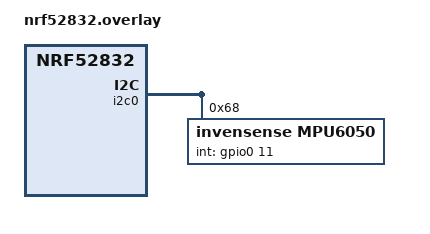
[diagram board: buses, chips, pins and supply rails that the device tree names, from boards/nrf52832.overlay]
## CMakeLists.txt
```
# CMake configuration for the nRF52-DK Demo Project using Zephyr

cmake_minimum_required(VERSION 3.20.0)

# Define board
set(BOARD nrf52dk/nrf52832)

# Set devicetree overlays
set(DTC_OVERLAY_FILE boards/nrf52832.overlay)

# Pull Zephyr build system
find_package(Zephyr REQUIRED HINTS $ENV{ZEPHYR_BASE})

# Define project
project(zephyr_nrf52_demo)

# Verify the project is built through sysbuild to ensure MCUboot is
# automatically included
test_sysbuild()

# Add sources
file(
  GLOB
  SOURCES_APP
  src/demo_task1.c
  src/demo_task2.c
  src/sensor_task.c
  src/serialization.c
  src/mpu_driver/*.c)

# BLE task sources
if(CONFIG_BLE_SENSOR_DATA)
  list(APPEND SOURCES_APP ${CMAKE_CURRENT_LIST_DIR}/src/ble_task.c)
endif()

# UART task sources
if(CONFIG_UART_SENSOR_DATA)
  list(APPEND SOURCES_APP ${CMAKE_CURRENT_LIST_DIR}/src/uart_task.c)
endif()

target_sources(app PRIVATE src/main.c ${SOURCES_APP})

# Build the llext
set(ext_name user_app)
file(GLOB ext_src ${CMAKE_CURRENT_LIST_DIR}/src/app/*.c)
set(ext_bin ${PROJECT_BINARY_DIR}/llext/${ext_name}.llext)
set(ext_inc ${ZEPHYR_BINARY_DIR}/include/generated/${ext_name}_ext.inc)
add_llext_target(${ext_name}_ext OUTPUT ${ext_bin} SOURCES ${ext_src})
generate_inc_file_for_target(app ${ext_bin} ${ext_inc})

# Include headers
target_include_directories(app PRIVATE src/mpu_driver)
```

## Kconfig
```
mainmenu "Zephyr demo:"

menuconfig SENSOR_DATA_OUTPUT
  bool "Sensor data output"
  default n
  help
    Enable/disable the demo sensor to outputs its data.

config BLE_SENSOR_DATA
  bool "Send sensor data over BLE"
  default n
  depends on SENSOR_DATA_OUTPUT

if BLE_SENSOR_DATA
  config BT
    bool "Enable Bluetooth stack"
    default y
    help
      Enable the Bluetooth stack for the project
  
  config BT_SETTINGS
    bool "Enable Bluetooth settings storage"
    default n
    help
      Store Bluetooth state and configuration persistently
  
  config BT_PERIPHERAL
    bool
    default y
  
  config BT_DEVICE_NAME
    string "BLE device name"
    default "Zephyr demo"
  
  config BT_DEVICE_NAME_DYNAMIC
    bool
    default y
  
  config BT_DEVICE_APPEARANCE_DYNAMIC
    bool
    default y
endif

config UART_SENSOR_DATA
  bool "Send sensor data over UART"
  default y
  depends on SENSOR_DATA_OUTPUT

source "Kconfig.zephyr"
```

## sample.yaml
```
sample:
  name: Zephyr demo
  description: Small Zephyr application that test Zephyr's features
  platforms: nrf52832
common:
  sysbuild: true
```

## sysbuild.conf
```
# Sysbuild configuration file

# Enable MCUboot
SB_CONFIG_BOOTLOADER_MCUBOOT=y
SB_CONFIG_BOOT_SIGNATURE_KEY_FILE="/home/tbardy/Workspaces/zephyr-labs/nrf52-demo/mcuboot-keys/mcuboot_nrf52.pem"
```

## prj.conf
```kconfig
# Enable assertions
CONFIG_ASSERT=y
CONFIG_ASSERT_LEVEL=2

# Enable I2C
CONFIG_I2C=y

# Enable sensor features for mpu-6050
CONFIG_SENSOR=y
CONFIG_MPU6050_TRIGGER_NONE=y

# Enable Logging
CONFIG_LOG=y
CONFIG_LOG_DEFAULT_LEVEL=3
CONFIG_CBPRINTF_FP_SUPPORT=y

# Enable Zbus
CONFIG_ZBUS=y
CONFIG_ZBUS_CHANNEL_NAME=y
CONFIG_ZBUS_RUNTIME_OBSERVERS=y

# Enable LLEXT
CONFIG_LLEXT=y
CONFIG_LLEXT_LOG_LEVEL_DBG=y
CONFIG_LLEXT_HEAP_SIZE=16
CONFIG_LLEXT_TYPE_ELF_RELOCATABLE=y
CONFIG_LLEXT_STORAGE_WRITABLE=y
CONFIG_ARM_MPU=n

CONFIG_MAIN_STACK_SIZE=2048
```

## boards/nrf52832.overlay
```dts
&i2c0 {
        status = "okay";

        mpu6050: mpu6050@68 {
                compatible = "invensense,mpu6050";
                reg = <0x68>;
                status = "okay";
                label = "mpu6050";
                int-gpios = <&gpio0 11 GPIO_ACTIVE_HIGH>;
        };
};
```

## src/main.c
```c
/**
 * @file main.c
 * @brief Zephyr Demo Application for the nRF52 DK Board
 */

#include <stdint.h>
#include <zephyr/drivers/gpio.h>
#include <zephyr/kernel.h>
#include <zephyr/llext/buf_loader.h>
#include <zephyr/llext/llext.h>
#include <zephyr/logging/log.h>

#include "ble_task.h"
#include "board_def.h"
#include "demo_task1.h"
#include "demo_task2.h"
#include "sensor_task.h"
#include "uart_task.h"

LOG_MODULE_REGISTER(main);

static uint8_t llext_buf[] = {
#include "user_app_ext.inc"
};

bool prvInitBoard(void) {
  uint8_t ret;

  if (!gpio_is_ready_dt(&led0) || !gpio_is_ready_dt(&led1) ||
      !gpio_is_ready_dt(&led2) || !gpio_is_ready_dt(&led3) ||
      !gpio_is_ready_dt(&btn0) || !gpio_is_ready_dt(&btn1) ||
      !gpio_is_ready_dt(&btn2) || !gpio_is_ready_dt(&btn3)) {
    return false;
  }
  ret = gpio_pin_configure_dt(&led0, GPIO_OUTPUT_INACTIVE);
  if (ret < 0) {
    return false;
  }
  ret = gpio_pin_configure_dt(&led1, GPIO_OUTPUT_INACTIVE);
  if (ret < 0) {
    return false;
  }
  ret = gpio_pin_configure_dt(&led2, GPIO_OUTPUT_INACTIVE);
  if (ret < 0) {
    return false;
  }
  ret = gpio_pin_configure_dt(&led3, GPIO_OUTPUT_INACTIVE);
  if (ret < 0) {
    return false;
  }
  ret = gpio_pin_configure_dt(&btn0, GPIO_INPUT | GPIO_PULL_UP);
  if (ret < 0) {
    return false;
  }
  ret = gpio_pin_configure_dt(&btn1, GPIO_INPUT | GPIO_PULL_UP);
  if (ret < 0) {
    return false;
  }
  ret = gpio_pin_configure_dt(&btn2, GPIO_INPUT | GPIO_PULL_UP);
  if (ret < 0) {
    return false;
  }
  ret = gpio_pin_configure_dt(&btn3, GPIO_INPUT | GPIO_PULL_UP);
  if (ret < 0) {
    return false;
  }

  return true;
}

int main(void) {
  // Initialize hardware
  if (!prvInitBoard()) {
    LOG_ERR("Failed to initialize board");
    return 0;
  }

  // Start tasks
  if (!task1_init()) {
    LOG_ERR("Failed to init task 1");
  }
  if (!task2_init()) {
    LOG_ERR("Failed to init task 2");
  }
  if (!task_sensor_init()) {
    LOG_ERR("Failed to init sensor task");
  }
#ifdef CONFIG_BLE_SENSOR_DATA
  if (!task_ble_init()) {
    LOG_ERR("Failed to init BLE task");
  }
#endif
#ifdef CONFIG_UART_SENSOR_DATA
  if (!task_uart_init()) {
    LOG_ERR("Failed to init UART task");
  }
#endif

  LOG_INF("--- OS is starting ---");
  k_msleep(1000);

  size_t llext_buf_len = ARRAY_SIZE(llext_buf);
  struct llext_buf_loader buf_loader =
      LLEXT_PERSISTENT_BUF_LOADER(llext_buf, llext_buf_len);
  struct llext_loader *ldr = &buf_loader.loader;

  struct llext_load_param ldr_parm = LLEXT_LOAD_PARAM_DEFAULT;
  struct llext *ext;

  if (0 != llext_load(ldr, "User app", &ext, &ldr_parm)) {
    LOG_ERR("Failed to load extension");
    return -1;
  }

  void (*user_app_fn)() = llext_find_sym(&ext->exp_tab, "UserAppEntryPoint");

  if (user_app_fn == NULL) {
    LOG_ERR("Failed to find symbol");
    return -1;
  }

  LOG_INF("--- User application is starting ---");
  user_app_fn();

  while (1) {
    k_sleep(K_FOREVER);
  }

  llext_unload(&ext);
  return 0;
}
```

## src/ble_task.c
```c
#include <stddef.h>
#include <stdint.h>
#include <string.h>
#include <sys/types.h>
#include <zephyr/bluetooth/bluetooth.h>
#include <zephyr/bluetooth/conn.h>
#include <zephyr/bluetooth/gap.h>
#include <zephyr/bluetooth/gatt.h>
#include <zephyr/bluetooth/hci.h>
#include <zephyr/bluetooth/uuid.h>
#include <zephyr/kernel.h>
#include <zephyr/logging/log.h>
#include <zephyr/sys/util.h>
#include <zephyr/zbus/zbus.h>

#include "ble_task.h"
#include "mpu6050.h"
#include "serialization.h"

LOG_MODULE_REGISTER(ble);

ZBUS_CHAN_DECLARE(sensor_data);

// BLE task configuration
#define TASK_BLE_STACK_SIZE (1024)
#define TASK_BLE_PRIORITITY (2)
static void pvrTaskBle(void *sub);
ZBUS_SUBSCRIBER_DEFINE(ble_com_sub, 1);
ZBUS_CHAN_ADD_OBS(sensor_data, ble_com_sub, 1);
K_THREAD_DEFINE(task_ble_id, TASK_BLE_STACK_SIZE, pvrTaskBle, &ble_com_sub,
                NULL, NULL, TASK_BLE_PRIORITITY, K_ESSENTIAL, 0);

typedef enum { BLE_IDLE, BLE_ADV, BLE_CONNECT, BLE_CONNECTED } BleTaskState;
static BleTaskState current_state = BLE_IDLE;

// Synchronization variables
K_SEM_DEFINE(sem_task_ble_start, 0, 1);

// BLE device name
#ifdef CONFIG_BT_DEVICE_NAME
#define DEVICE_NAME CONFIG_BT_DEVICE_NAME
#else
#define DEVICE_NAME "Zephyr demo"
#endif
#define DEVICE_NAME_LEN (sizeof(DEVICE_NAME) - 1)

static struct bt_conn *phone_conn = NULL;
volatile bool temp_notify_enable = false;
volatile bool acce_notify_enable = false;
volatile bool gyro_notify_enable = false;

static void temp_ccc_cfg_changed(const struct bt_gatt_attr *attr,
                                 uint16_t value) {
  ARG_UNUSED(attr);
  temp_notify_enable = (value == BT_GATT_CCC_NOTIFY);
  LOG_INF("Temp notification %s", temp_notify_enable ? "enabled" : "disabled");
}

static void acce_ccc_cfg_changed(const struct bt_gatt_attr *attr,
                                 uint16_t value) {
  ARG_UNUSED(attr);
  acce_notify_enable = (value == BT_GATT_CCC_NOTIFY);
  LOG_INF("Acce notification %s", acce_notify_enable ? "enabled" : "disabled");
}

static void gyro_ccc_cfg_changed(const struct bt_gatt_attr *attr,
                                 uint16_t value) {
  ARG_UNUSED(attr);
  gyro_notify_enable = (value == BT_GATT_CCC_NOTIFY);
  LOG_INF("Gyro notification %s", gyro_notify_enable ? "enabled" : "disabled");
}

// MPU (accelero - gyro) BLE service UUID:
// 0x2F4A3B1E-0584-4865-9BF5-A7A99C9A0000
#define BT_UUID_MPU_SERVICE_VAL                                                \
  BT_UUID_128_ENCODE(0x2F4A3B1E, 0x0584, 0x4865, 0x9BF5, 0xA7A99C9A0000)

static const struct bt_uuid_128 mpu_uuid =
    BT_UUID_INIT_128(BT_UUID_MPU_SERVICE_VAL);
// Define custom characteristic UUIDs (accelero and gyro)
static const struct bt_uuid_128 accel_uuid = BT_UUID_INIT_128(
    BT_UUID_128_ENCODE(0x2F4A3B1E, 0x0584, 0x4865, 0x9BF5, 0xA7A99C9A0001));
static const struct bt_uuid_128 gyro_uuid = BT_UUID_INIT_128(
    BT_UUID_128_ENCODE(0x2F4A3B1E, 0x0584, 0x4865, 0x9BF5, 0xA7A99C9A0002));

static struct mpu6050_data mpu_srv_data = {0};

BT_GATT_SERVICE_DEFINE(
    ess_service, BT_GATT_PRIMARY_SERVICE(BT_UUID_ESS),
    BT_GATT_CHARACTERISTIC(BT_UUID_ES_MEASUREMENT, BT_GATT_CHRC_NOTIFY,
                           BT_GATT_PERM_NONE, NULL, NULL, &mpu_srv_data.temp),
    BT_GATT_CCC(temp_ccc_cfg_changed, BT_GATT_PERM_READ | BT_GATT_PERM_WRITE));

BT_GATT_SERVICE_DEFINE(
    mpu_service, BT_GATT_PRIMARY_SERVICE(&mpu_uuid),
    BT_GATT_CHARACTERISTIC(&accel_uuid.uuid, BT_GATT_CHRC_NOTIFY,
                           BT_GATT_PERM_NONE, NULL, NULL, &mpu_srv_data.acce),
    BT_GATT_CCC(acce_ccc_cfg_changed, BT_GATT_PERM_READ | BT_GATT_PERM_WRITE),
    BT_GATT_CHARACTERISTIC(&gyro_uuid.uuid, BT_GATT_CHRC_NOTIFY,
                           BT_GATT_PERM_NONE, NULL, NULL, &mpu_srv_data.gyro),
    BT_GATT_CCC(gyro_ccc_cfg_changed, BT_GATT_PERM_READ | BT_GATT_PERM_WRITE));

// Advertisment data
static const struct bt_data adv_data[] = {
    BT_DATA_BYTES(BT_DATA_FLAGS, (BT_LE_AD_GENERAL | BT_LE_AD_NO_BREDR)),
    BT_DATA(BT_DATA_NAME_COMPLETE, DEVICE_NAME, DEVICE_NAME_LEN),
};

void prvMtuUpdated(struct bt_conn *conn, uint16_t tx, uint16_t rx) {
  LOG_INF("Updated MTU: Tx: %d - Rx: %d bytes", tx, rx);
}

static struct bt_gatt_cb gatt_callbacks = {
    .att_mtu_updated = prvMtuUpdated,
};

static void prvConnectedCb(struct bt_conn *conn, uint8_t err) {
  if (err) {
    LOG_ERR("Connection failed: %d", err);
  } else {
    LOG_INF("Connected");
    current_state = BLE_CONNECT;
    if (!phone_conn) {
      phone_conn = bt_conn_ref(conn);
    }
  }
}

static void prvDisconnectedCb(struct bt_conn *conn, uint8_t reason) {
  if (phone_conn) {
    bt_conn_unref(conn);
    phone_conn = NULL;
  }
  LOG_INF("Disconnected: reason 0x%02x %s", reason, bt_hci_err_to_str(reason));
  current_state = BLE_ADV;
}

BT_CONN_CB_DEFINE(conn_callbacks) = {
    .connected = prvConnectedCb,
    .disconnected = prvDisconnectedCb,
};

void prvBtReady(int err) {
  if (err) {
    LOG_ERR("Bluetooth stack init failed: %d", err);
    return;
  }

  LOG_INF("Bluetooth initialized");
}

bool task_ble_init(void) {
  // Initialize BLE stack
  int ret = bt_enable(&prvBtReady);
  if (ret != 0) {
    LOG_ERR("Unable to initialize the BLE stack: %d", ret);
    return false;
  }

  // Set BLE name - appearance (sensor) and callbacks
  bt_set_name(DEVICE_NAME);
  bt_set_appearance(0x015);
  bt_gatt_cb_register(&gatt_callbacks);

  k_sem_give(&sem_task_ble_start);
  current_state = BLE_ADV;
  return true;
}

int prvNotifyData(const struct bt_gatt_attr *attr, void *data, uint16_t len) {
  int ret;
  uint16_t mtu_size = bt_gatt_get_mtu(phone_conn) - 3u;
  uint16_t index = 0;

  do {
    ret = bt_gatt_notify(phone_conn, attr, (char *)data + index,
                         (mtu_size > (len - index)) ? (len - index) : mtu_size);
    if (ret != 0) {
      LOG_ERR("BLE notification failed: %d", ret);
      return ret;
    }
    index += mtu_size;
  } while (index < len);

  return ret;
}

static void pvrTaskBle(void *sub) {
  const struct zbus_channel *channel;
  const struct zbus_observer *data_sub = sub;
  int ret;

  k_sem_take(&sem_task_ble_start, K_FOREVER);

  LOG_INF("BLE task start...");

  // BLE state machine
  while (true) {
    switch (current_state) {
    case BLE_IDLE:
      // Nothing to do
      k_sleep(K_SECONDS(1));
      break;

    case BLE_ADV:
      ret = bt_le_adv_start(BT_LE_ADV_CONN_FAST_1, adv_data,
                            ARRAY_SIZE(adv_data), NULL, 0);
      if (ret != 0) {
        LOG_ERR("Advertising failed to start: %d", ret);
      }
      current_state = BLE_IDLE;
      break;

    case BLE_CONNECT:
      ret = bt_le_adv_stop();
      if (ret != 0) {
        LOG_ERR("Advertising failed to stop: %d", ret);
        current_state = BLE_IDLE;
      }
      current_state = BLE_CONNECTED;
      break;

    case BLE_CONNECTED:
      // Wait for data from the sensor task - catch new event every 500ms
      while (!zbus_sub_wait(data_sub, &channel, K_MSEC(500))) {
        if (&sensor_data != channel) {
          LOG_ERR("Wrong channel triggered: %s (expected: %s)", channel->name,
                  sensor_data.name);
          continue;
        }
        ret = zbus_chan_read(channel, &mpu_srv_data, K_NO_WAIT);
        if (ret != 0) {
          LOG_ERR("Unable to read data over channel %s", channel->name);
          continue;
        }

        if (temp_notify_enable) {
          uint8_t data[sizeof(mpu_srv_data.temp)];
          size_t index = 0;
          ser_encoder_data(data, &index, &mpu_srv_data.temp,
                           sizeof(mpu_srv_data.temp));
          memcpy(data, &mpu_srv_data.temp, sizeof(mpu_srv_data.temp));
          ret = prvNotifyData(&ess_service.attrs[2], data,
                              sizeof(mpu_srv_data.temp));
        } else {
          LOG_WRN("Temp notification not enabled");
        }
        if (acce_notify_enable) {
          uint8_t data[sizeof(mpu_srv_data.acce)];
          size_t index = 0;
          ser_encoder_data(data, &index, mpu_srv_data.acce,
                           sizeof(mpu_srv_data.acce));
          ret = prvNotifyData(&mpu_service.attrs[2], data,
                              sizeof(mpu_srv_data.acce));
        } else {
          LOG_WRN("Acce notification not enabled");
        }
        if (gyro_notify_enable) {
          uint8_t data[sizeof(mpu_srv_data.gyro)];
          size_t index = 0;
          ser_encoder_data(data, &index, mpu_srv_data.gyro,
                           sizeof(mpu_srv_data.gyro));
          ret = prvNotifyData(&mpu_service.attrs[4], &mpu_srv_data.gyro,
                              sizeof(mpu_srv_data.gyro));
        } else {
          LOG_WRN("Gyro notification not enabled");
        }
      }
      break;
    }
  }
}
```

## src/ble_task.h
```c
/**
 * @file ble_task.h
 * @brief Task that manages BLE
 */

#ifndef _BLE_TASK_H_
#define _BLE_TASK_H_

#include <stdbool.h>

bool task_ble_init(void);

#endif // _BLE_TASK_H_
```

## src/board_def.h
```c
/**
 * @file board_def.h
 * @brief Definition of the hardware used in the demo
 */

#ifndef _BOARD_DEF_H_
#define _BOARD_DEF_H_

#include <stdint.h>
#include <zephyr/drivers/gpio.h>
#include <zephyr/kernel.h>
#include <zephyr/zbus/zbus.h>

// Hardware used in the demo
static const struct gpio_dt_spec led0 =
    GPIO_DT_SPEC_GET(DT_NODELABEL(led0), gpios);
static const struct gpio_dt_spec led1 =
    GPIO_DT_SPEC_GET(DT_NODELABEL(led1), gpios);
static const struct gpio_dt_spec led2 =
    GPIO_DT_SPEC_GET(DT_NODELABEL(led2), gpios);
static const struct gpio_dt_spec led3 =
    GPIO_DT_SPEC_GET(DT_NODELABEL(led3), gpios);
static const struct gpio_dt_spec btn0 =
    GPIO_DT_SPEC_GET(DT_NODELABEL(button0), gpios);
static const struct gpio_dt_spec btn1 =
    GPIO_DT_SPEC_GET(DT_NODELABEL(button1), gpios);
static const struct gpio_dt_spec btn2 =
    GPIO_DT_SPEC_GET(DT_NODELABEL(button2), gpios);
static const struct gpio_dt_spec btn3 =
    GPIO_DT_SPEC_GET(DT_NODELABEL(button3), gpios);

enum TiggerSource {
  BUTTON_0 = 0,
  BUTTON_1,
  BUTTON_2,
  BUTTON_3,
};

#endif // _BOARD_DEF_H_
```

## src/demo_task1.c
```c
#include <stdbool.h>
#include <stddef.h>
#include <stdint.h>
#include <sys/types.h>
#include <zephyr/kernel.h>
#include <zephyr/logging/log.h>

#include "board_def.h"
#include "zephyr/drivers/gpio.h"

LOG_MODULE_REGISTER(taks1);

// Task configration
#define TASK1_STACK_SIZE (256)
#define TASK1_PRIORITY (3)
static void prvTask1(void *, void *, void *);
K_THREAD_DEFINE(task1_id, TASK1_STACK_SIZE, prvTask1, NULL, NULL, NULL,
                TASK1_PRIORITY, K_ESSENTIAL, 0);

// Synchronization variables
K_SEM_DEFINE(sem_task1_start, 0, 1);

// Internal variables
static uint64_t amount_of_work = 30000;

// Interrupt structures and callbacks
static struct gpio_callback btn0_cb_data;
static struct gpio_callback btn1_cb_data;

void prvBtn0Pressed(const struct device *port, struct gpio_callback *cb,
                    gpio_port_pins_t pins) {
  if (amount_of_work < 100000u) {
    amount_of_work += 5000;
    LOG_INF("Increase amount of work %lld", amount_of_work);
  }
}

void prvBtn1Pressed(const struct device *port, struct gpio_callback *cb,
                    gpio_port_pins_t pins) {
  if (amount_of_work > 10000u) {
    amount_of_work -= 5000;
    LOG_INF("Decrease amount of work %lld", amount_of_work);
  }
}

// Internal functions
static void prvSimulateWork(void) {
  for (size_t i = 0; i < amount_of_work; i++)
    ;
}

static void prvTask1(void *a, void *b, void *c) {
  ARG_UNUSED(a);
  ARG_UNUSED(b);
  ARG_UNUSED(c);

  k_sem_take(&sem_task1_start, K_FOREVER);
  while (true) {
    LOG_INF("Task 1 is running...");

    gpio_pin_toggle_dt(&led0);
    prvSimulateWork();
    gpio_pin_toggle_dt(&led0);

    k_sleep(K_SECONDS(5));
  }
}

bool task1_init(void) {
  // Initialize buttons callbacks
  gpio_init_callback(&btn0_cb_data, prvBtn0Pressed, BIT(btn0.pin));
  gpio_init_callback(&btn1_cb_data, prvBtn1Pressed, BIT(btn1.pin));

  gpio_add_callback_dt(&btn0, &btn0_cb_data);
  gpio_add_callback_dt(&btn1, &btn1_cb_data);

  gpio_pin_interrupt_configure_dt(&btn0, GPIO_INT_EDGE_FALLING);
  gpio_pin_interrupt_configure_dt(&btn1, GPIO_INT_EDGE_FALLING);

  k_sem_give(&sem_task1_start);
  return true;
}
```

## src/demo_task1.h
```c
/**
 * @file demo_taks1.h
 * @brief Simulation of real task in a real project to try out Zephyr features
 */

#ifndef _DEMO_TASK1_H_
#define _DEMO_TASK1_H_

#include <stdbool.h>

bool task1_init(void);

#endif // _DEMO_TASK1_H_
```

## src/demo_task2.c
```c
#include <stdbool.h>
#include <stddef.h>
#include <stdint.h>
#include <sys/types.h>
#include <zephyr/kernel.h>
#include <zephyr/logging/log.h>

#include "board_def.h"
#include "zephyr/drivers/gpio.h"

LOG_MODULE_REGISTER(taks2);

// Task configration
#define TASK2_STACK_SIZE (256)
#define TASK2_PRIORITY (3)
static void prvTask2(void *, void *, void *);
K_THREAD_DEFINE(task2_id, TASK2_STACK_SIZE, prvTask2, NULL, NULL, NULL,
                TASK2_PRIORITY, K_ESSENTIAL, 0);

// Synchronization variables
K_SEM_DEFINE(sem_task2_start, 0, 1);

// Internal variables
static uint64_t amount_of_work = 30000;

// Interrupt structures and callbacks
static struct gpio_callback btn2_cb_data;

void prvBtn2Pressed(const struct device *port, struct gpio_callback *cb,
                    gpio_port_pins_t pins) {
  if (amount_of_work < 100000u) {
    amount_of_work += 5000;
    LOG_INF("Increase amount of work %lld", amount_of_work);
  }
}

// Internal functions
static void prvSimulateWork(void) {
  for (size_t i = 0; i < amount_of_work; i++)
    ;
}

static void prvTask2(void *a, void *b, void *c) {
  ARG_UNUSED(a);
  ARG_UNUSED(b);
  ARG_UNUSED(c);

  k_sem_take(&sem_task2_start, K_FOREVER);
  while (true) {
    LOG_INF("Task 2 is running...");

    gpio_pin_toggle_dt(&led1);
    prvSimulateWork();
    gpio_pin_toggle_dt(&led1);

    k_sleep(K_SECONDS(5));
  }
}

bool task2_init(void) {
  // Initialize button callback
  gpio_init_callback(&btn2_cb_data, prvBtn2Pressed, BIT(btn2.pin));
  gpio_add_callback_dt(&btn2, &btn2_cb_data);
  gpio_pin_interrupt_configure_dt(&btn2, GPIO_INT_EDGE_FALLING);

  k_sem_give(&sem_task2_start);
  return true;
}
```

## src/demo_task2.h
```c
/**
 * @file demo_taks2.h
 * @brief Simulation of real task in a real project to try out Zephyr features
 */

#ifndef _DEMO_TASK2_H_
#define _DEMO_TASK2_H_

#include <stdbool.h>

bool task2_init(void);

#endif // _DEMO_TASK2_H_
```

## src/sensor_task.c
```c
#include <stdbool.h>
#include <zephyr/kernel.h>
#include <zephyr/logging/log.h>
#include <zephyr/zbus/zbus.h>

#include "board_def.h"
#include "mpu6050.h"

LOG_MODULE_REGISTER(task_sensor);

// ZBus channels definition
ZBUS_CHAN_DEFINE(sensor_data,          // Name
                 struct mpu6050_data,  // Message type
                 NULL,                 // Validator
                 NULL,                 // User data
                 ZBUS_OBSERVERS_EMPTY, // Observers
                 ZBUS_MSG_INIT(0)      // Initial value
);

ZBUS_CHAN_DEFINE(trigger,                            // Name
                 enum TiggerSource,                  // Message type
                 NULL,                               // Validator
                 NULL,                               // User data
                 ZBUS_OBSERVERS(trigger_sub, blink), // Observers
                 0                                   // Initial value
);

// Sensor task configration
#define TASK_SENSOR_STACK_SIZE (1024)
#define TASK_SENSOR_PRIORITY (1)
static void prvTaskSensor(void *sub);
ZBUS_SUBSCRIBER_DEFINE(trigger_sub, 1);
K_THREAD_DEFINE(task_sensor_id, TASK_SENSOR_STACK_SIZE, prvTaskSensor,
                &trigger_sub, NULL, NULL, TASK_SENSOR_PRIORITY, K_ESSENTIAL, 0);

// Synchronization variables
K_SEM_DEFINE(sem_task_sensor_start, 0, 1);

// Interrupt structures and callbacks
static struct gpio_callback btn3_cb_data;

void prvBtn3Pressed(const struct device *port, struct gpio_callback *cb,
                    gpio_port_pins_t pins) {
  // Notify the trigger channel
  zbus_chan_notify(&trigger, K_NO_WAIT);
}

static void prvLed3Toggle(const struct zbus_channel *chan) {
  gpio_pin_toggle_dt(&led3);
}
ZBUS_LISTENER_DEFINE(blink, prvLed3Toggle);

bool task_sensor_init(void) {
  if (!mpu6050_sensor_init()) {
    LOG_ERR("Failed to initialize MPU-6050 sensor");
    return false;
  }

  gpio_init_callback(&btn3_cb_data, prvBtn3Pressed, BIT(btn3.pin));
  gpio_add_callback_dt(&btn3, &btn3_cb_data);
  gpio_pin_interrupt_configure_dt(&btn3, GPIO_INT_EDGE_FALLING);

  k_sem_give(&sem_task_sensor_start);
  return true;
}

static void prvTaskSensor(void *sub) {
  const struct zbus_channel *channel;
  const struct zbus_observer *trigger_sub = sub;
  struct mpu6050_data data = {0};
  int ret;

  k_sem_take(&sem_task_sensor_start, K_FOREVER);

  // Wait until we get notified by the trigger channel
  while (!zbus_sub_wait(trigger_sub, &channel, K_FOREVER)) {
    if (&trigger != channel) {
      LOG_ERR("Wrong channel triggered: %s (expected: %s)", channel->name,
              trigger.name);
      continue;
    }
    // Acquire data
    mpu6050_get_data(&data);

    // Publish data to the zbus chanel
    ret = zbus_chan_pub(&sensor_data, &data, K_SECONDS(1));
    if (ret != 0) {
      LOG_ERR("Unable to publish to the %s channel",
              zbus_chan_name(&sensor_data));
    }

    // Wait for 2 second before enable another acquisition
    k_sleep(K_SECONDS(2));
  }
}
```

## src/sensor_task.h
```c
/**
 * @file sensor_task.h
 * @brief Task that manages sensors of the demo
 */

#ifndef _SENSOR_TASK_H_
#define _SENSOR_TASK_H_

#include <stdbool.h>

bool task_sensor_init(void);

#endif // _SENSOR_TASK_H_
```

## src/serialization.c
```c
#include <string.h>

#include "serialization.h"
#include "util.h"

void ser_decoder_bool(const uint8_t *buf, size_t *index, bool *value) {
  /* Check parameters */
  configASSERT(NULL != buf);
  configASSERT(NULL != index);
  configASSERT(NULL != value);

  /* Decode value */
  *value = (0x00 != buf[*index]) ? true : false;
  *index += sizeof(uint8_t);
}

void ser_decoder_uint8(const uint8_t *buf, size_t *index, uint8_t *value) {
  /* Check parameters */
  configASSERT(NULL != buf);
  configASSERT(NULL != index);
  configASSERT(NULL != value);

  /* Decode value */
  *value = buf[*index];
  *index += sizeof(uint8_t);
}

void ser_decoder_uint16(const uint8_t *buf, size_t *index, uint16_t *value) {
  /* Check parameters */
  configASSERT(NULL != buf);
  configASSERT(NULL != index);
  configASSERT(NULL != value);

  /* Decode value */
  *value =
      (uint16_t)((uint16_t)(buf[*index]) | (((uint16_t)buf[*index + 1]) << 8));
  *index += sizeof(uint16_t);
}

void ser_decoder_uint24(const uint8_t *buf, size_t *index, uint32_t *value) {
  /* Check parameters */
  configASSERT(NULL != buf);
  configASSERT(NULL != index);
  configASSERT(NULL != value);

  /* Decode value */
  *value = (uint32_t)(buf[*index]) | (((uint32_t)buf[*index + 1]) << 8) |
           (((uint32_t)buf[*index + 2]) << 16);
  *index += sizeof(uint16_t) + sizeof(uint8_t);
}

void ser_decoder_uint32(const uint8_t *buf, size_t *index, uint32_t *value) {
  /* Check parameters */
  configASSERT(NULL != buf);
  configASSERT(NULL != index);
  configASSERT(NULL != value);

  /* Decode value */
  *value = (uint32_t)(buf[*index]) | (((uint32_t)buf[*index + 1]) << 8) |
           (((uint32_t)buf[*index + 2]) << 16) |
           (((uint32_t)buf[*index + 3]) << 24);
  *index += sizeof(uint32_t);
}

void ser_decoder_uint64(const uint8_t *buf, size_t *index, uint64_t *value) {
  /* Check parameters */
  configASSERT(NULL != buf);
  configASSERT(NULL != index);
  configASSERT(NULL != value);

  /* Decode value */
  *value = (uint64_t)(buf[*index]) | (((uint64_t)buf[*index + 1]) << 8) |
           (((uint64_t)buf[*index + 2]) << 16) |
           (((uint64_t)buf[*index + 3]) << 24) |
           (((uint64_t)buf[*index + 4]) << 32) |
           (((uint64_t)buf[*index + 5]) << 40) |
           (((uint64_t)buf[*index + 6]) << 48) |
           (((uint64_t)buf[*index + 7]) << 56);
  *index += sizeof(uint64_t);
}

void ser_decoder_string(const uint8_t *buf, size_t *index, char **value) {
  /* Check parameters */
  configASSERT(NULL != buf);
  configASSERT(NULL != index);
  configASSERT(NULL != value);

  /* Decode value */
  *value = (char *)buf + *index;
  *index += strlen(*value) + 1;
}

void ser_decoder_data(const uint8_t *buf, size_t *index, void *data,
                      size_t data_len) {
  /* Check parameters */
  configASSERT(NULL != buf);
  configASSERT(NULL != index);
  configASSERT(NULL != data);

  /* Decode data */
  memcpy(data, &buf[*index], data_len);
  *index += data_len;
}

void ser_encoder_bool(uint8_t *buf, size_t *index, bool value) {
  /* Check parameters */
  configASSERT(NULL != buf);
  configASSERT(NULL != index);

  /* Encode value */
  buf[*index] = (true == value) ? 0x01 : 0x00;
  *index += sizeof(uint8_t);
}

void ser_encoder_uint8(uint8_t *buf, size_t *index, uint8_t value) {
  /* Check parameters */
  configASSERT(NULL != buf);
  configASSERT(NULL != index);

  /* Encode value */
  buf[*index] = value;
  *index += sizeof(uint8_t);
}

void ser_encoder_uint16(uint8_t *buf, size_t *index, uint16_t value) {
  /* Check parameters */
  configASSERT(NULL != buf);
  configASSERT(NULL != index);

  /* Encode value */
  buf[*index] = (uint8_t)((value & 0x00FF) >> 0);
  buf[*index + 1] = (uint8_t)((value & 0xFF00) >> 8);
  *index += sizeof(uint16_t);
}

void ser_encoder_uint24(uint8_t *buf, size_t *index, uint32_t value) {
  /* Check parameters */
  configASSERT(NULL != buf);
  configASSERT(NULL != index);

  /* Encode value */
  buf[*index] = (uint8_t)((value & 0x000000FF) >> 0);
  buf[*index + 1] = (uint8_t)((value & 0x0000FF00) >> 8);
  buf[*index + 2] = (uint8_t)((value & 0x00FF0000) >> 16);
  *index += sizeof(uint16_t) + sizeof(uint8_t);
}

void ser_encoder_uint32(uint8_t *buf, size_t *index, uint32_t value) {
  /* Check parameters */
  configASSERT(NULL != buf);
  configASSERT(NULL != index);

  /* Encode value */
  buf[*index] = (uint8_t)((value & 0x000000FF) >> 0);
  buf[*index + 1] = (uint8_t)((value & 0x0000FF00) >> 8);
  buf[*index + 2] = (uint8_t)((value & 0x00FF0000) >> 16);
  buf[*index + 3] = (uint8_t)((value & 0xFF000000) >> 24);
  *index += sizeof(uint32_t);
}

void ser_encoder_uint64(uint8_t *buf, size_t *index, uint64_t value) {
  /* Check parameters */
  configASSERT(NULL != buf);
  configASSERT(NULL != index);

  /* Encode value */
  buf[*index] = (uint8_t)((value & 0x00000000000000FF) >> 0);
  buf[*index + 1] = (uint8_t)((value & 0x000000000000FF00) >> 8);
  buf[*index + 2] = (uint8_t)((value & 0x0000000000FF0000) >> 16);
  buf[*index + 3] = (uint8_t)((value & 0x00000000FF000000) >> 24);
  buf[*index + 4] = (uint8_t)((value & 0x000000FF00000000) >> 32);
  buf[*index + 5] = (uint8_t)((value & 0x0000FF0000000000) >> 40);
  buf[*index + 6] = (uint8_t)((value & 0x00FF000000000000) >> 48);
  buf[*index + 7] = (uint8_t)((value & 0xFF00000000000000) >> 56);
  *index += sizeof(uint64_t);
}

void ser_encoder_string(uint8_t *buf, size_t *index, char *value) {
  /* Check parameters */
  configASSERT(NULL != buf);
  configASSERT(NULL != index);
  configASSERT(NULL != value);

  /* Encode value */
  strcpy((char *)buf + *index, value);
  size_t len = strlen(value);
  buf[*index + len] = 0;
  *index += len + 1;
}

void ser_encoder_data(uint8_t *buf, size_t *index, const void *data,
                      size_t data_len) {
  /* Check parameters */
  configASSERT(NULL != buf);
  configASSERT(NULL != index);
  configASSERT(NULL != data);

  /* Encode value */
  memcpy(&buf[*index], data, data_len);
  *index += data_len;
}
```

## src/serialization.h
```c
#ifndef _SERIALIZATION_H_
#define _SERIALIZATION_H_

#include <stdbool.h>
#include <stddef.h>
#include <stdint.h>

void ser_decoder_bool(const uint8_t *buf, size_t *index, bool *value);
void ser_decoder_uint8(const uint8_t *buf, size_t *index, uint8_t *value);
void ser_decoder_uint16(const uint8_t *buf, size_t *index, uint16_t *value);
void ser_decoder_uint24(const uint8_t *buf, size_t *index, uint32_t *value);
void ser_decoder_uint32(const uint8_t *buf, size_t *index, uint32_t *value);
void ser_decoder_uint64(const uint8_t *buf, size_t *index, uint64_t *value);
void ser_decoder_string(const uint8_t *buf, size_t *index, char **value);
void ser_decoder_data(const uint8_t *buf, size_t *index, void *data,
                      size_t data_len);

void ser_encoder_bool(uint8_t *buf, size_t *index, bool value);
void ser_encoder_uint8(uint8_t *buf, size_t *index, uint8_t value);
void ser_encoder_uint16(uint8_t *buf, size_t *index, uint16_t value);
void ser_encoder_uint24(uint8_t *buf, size_t *index, uint32_t value);
void ser_encoder_uint32(uint8_t *buf, size_t *index, uint32_t value);
void ser_encoder_uint64(uint8_t *buf, size_t *index, uint64_t value);
void ser_encoder_string(uint8_t *buf, size_t *index, char *value);
void ser_encoder_data(uint8_t *buf, size_t *index, const void *data,
                      size_t data_len);

#endif // !_SERIALIZATION_H_
```

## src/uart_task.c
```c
#include <stdint.h>
#include <string.h>
#include <sys/types.h>
#include <zephyr/kernel.h>
#include <zephyr/logging/log.h>
#include <zephyr/sys/util.h>
#include <zephyr/zbus/zbus.h>

#include "mpu6050.h"
#include "uart_task.h"

LOG_MODULE_REGISTER(uart);

ZBUS_CHAN_DECLARE(sensor_data);

// BLE task configuration
#define TASK_UART_STACK_SIZE (256)
#define TASK_UART_PRIORITITY (2)
static void pvrTaskUart(void *sub);
ZBUS_SUBSCRIBER_DEFINE(uart_com_sub, 1);
ZBUS_CHAN_ADD_OBS(sensor_data, uart_com_sub, 1);
K_THREAD_DEFINE(task_uart_id, TASK_UART_STACK_SIZE, pvrTaskUart, &uart_com_sub,
                NULL, NULL, TASK_UART_PRIORITITY, K_ESSENTIAL, 0);

// Synchronization variables
K_SEM_DEFINE(sem_task_uart_start, 0, 1);

bool task_uart_init(void) {
  k_sem_give(&sem_task_uart_start);
  return true;
}

static void pvrTaskUart(void *sub) {
  const struct zbus_channel *channel;
  const struct zbus_observer *data_sub = sub;
  struct mpu6050_data mpu_srv_data = {0};
  int ret;

  k_sem_take(&sem_task_uart_start, K_FOREVER);

  LOG_INF("UART task start...");

  // Wait for data from the sensor task
  while (!zbus_sub_wait(data_sub, &channel, K_FOREVER)) {
    if (&sensor_data != channel) {
      LOG_ERR("Wrong channel triggered: %s (expected: %s)", channel->name,
              sensor_data.name);
      continue;
    }
    ret = zbus_chan_read(channel, &mpu_srv_data, K_NO_WAIT);
    if (ret != 0) {
      LOG_ERR("Unable to read data over channel %s", channel->name);
      continue;
    }

    LOG_INF("\n\r  temp  %lf Cel\n\r"
            "  accel %lf %lf %lf m/s/s\n\r"
            "  gyro  %lf %lf %lf rad/s",
            mpu_srv_data.temp, mpu_srv_data.acce[X_INDEX],
            mpu_srv_data.acce[Y_INDEX], mpu_srv_data.acce[Z_INDEX],
            mpu_srv_data.gyro[X_INDEX], mpu_srv_data.gyro[Y_INDEX],
            mpu_srv_data.gyro[Z_INDEX]);
  }
}
```
